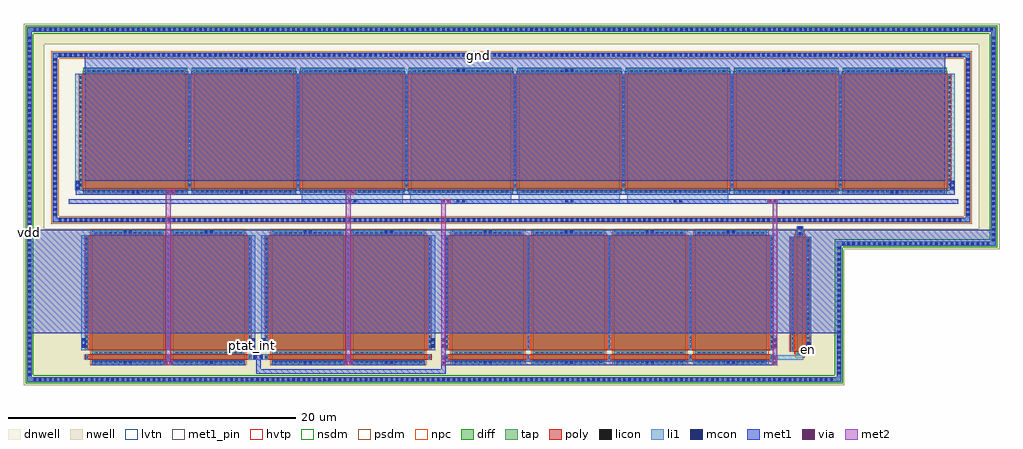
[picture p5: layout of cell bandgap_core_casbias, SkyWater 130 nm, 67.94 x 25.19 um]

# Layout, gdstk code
from math import pi, radians
import gdstk
lib = gdstk.Library(unit=1e-6, precision=5e-09)
def R(c, l, rs):  # rectangles x0, y0, x1, y1
    for r in rs: c.add(gdstk.rectangle(r[:2], r[2:], *l))
def A(c, l, x, y, w, h, nx, ny, dx, dy):  # array of equal rectangles
    R(c, l, [(x+i*dx, y+j*dy, x+i*dx+w, y+j*dy+h) for i in range(nx) for j in range(ny)])
def P(c, l, *ps):  # polygons
    for p in ps: c.add(gdstk.Polygon(p, *l))
dnwell = (64, 18)
nwell = (64, 20)
diff = (65, 20)
tap = (65, 44)
poly = (66, 20)
licon = (66, 44)
li1 = (67, 20)
mcon = (67, 44)
met1_pin = (68, 16)
met1 = (68, 20)
via = (68, 44)
met2 = (69, 20)
hvtp = (78, 44)
nsdm = (93, 44)
psdm = (94, 20)
npc = (95, 20)
lvtn = (125, 44)

mos = lib.new_cell('mos')
R(mos, diff, [(-4.29,-3.5,4.29,3.5), (-4.29,-3.5,-4,3.5), (4,-3.5,4.29,3.5)])
R(mos, poly, [(-4,-3.94,4,-3.61), (-4,-3.775,4,3.775), (-4,3.61,4,3.94)])
A(mos, licon, -3.825, -3.86, 0.17, 0.17, 23, 2, 0.34, 7.55)
A(mos, licon, -4.23, -3.315, 0.17, 0.17, 1, 20, 0, 0.34)
A(mos, licon, 4.06, -3.315, 0.17, 0.17, 1, 20, 0, 0.34)
R(mos, li1, [(-4,-3.86,4,-3.69), (-4.23,-3.52,-4.06,3.52), (4.06,-3.52,4.23,3.52), (-4,3.69,4,3.86)])
R(mos, nsdm, [(-4.415,-3.625,4.415,3.625)])
R(mos, npc, [(-3.925,-3.96,3.925,-3.59), (-3.925,3.59,3.925,3.96)])
R(mos, lvtn, [(-4.18,-3.68,4.18,3.68)])

contact = lib.new_cell('contact')
R(contact, li1, [(-0.165,-0.345,0.165,0.345)])
R(contact, mcon, [(-0.085,-0.265,0.085,-0.095), (-0.085,0.095,0.085,0.265)])
R(contact, met1, [(-0.145,-0.325,0.145,0.325)])

bandgap_cascurr_cell = lib.new_cell('bandgap_cascurr_cell')
R(bandgap_cascurr_cell, nwell, [(0,0.005,1.29,6.005), (0.64,0.005,9.58,6.005)])
R(bandgap_cascurr_cell, diff, [(0.18,0.505,1.11,5.505), (0.82,0.505,9.4,5.505)])
R(bandgap_cascurr_cell, poly, [(0.47,0.02,0.82,5.99), (1.11,0.02,9.11,5.99)])
A(bandgap_cascurr_cell, licon, 1.285, 0.1, 0.17, 0.17, 23, 2, 0.34, 5.64)
A(bandgap_cascurr_cell, licon, 0.24, 0.71, 0.17, 0.17, 1, 14, 0, 0.34)
A(bandgap_cascurr_cell, licon, 9.17, 0.71, 0.17, 0.17, 1, 14, 0, 0.34)
R(bandgap_cascurr_cell, licon, [(0.56,0.1,0.73,0.27), (0.88,0.71,1.05,0.88), (0.88,0.71,1.05,0.88), (0.88,1.05,1.05,1.22), (0.88,1.05,1.05,1.22), (0.88,1.39,1.05,1.56), (0.88,1.39,1.05,1.56), (0.88,1.73,1.05,1.9), (0.88,1.73,1.05,1.9), (0.88,2.07,1.05,2.24), (0.88,2.07,1.05,2.24), (0.88,2.41,1.05,2.58), (0.88,2.41,1.05,2.58), (0.88,2.75,1.05,2.92), (0.88,2.75,1.05,2.92), (0.88,3.09,1.05,3.26), (0.88,3.09,1.05,3.26), (0.88,3.43,1.05,3.6), (0.88,3.43,1.05,3.6), (0.88,3.77,1.05,3.94), (0.88,3.77,1.05,3.94), (0.88,4.11,1.05,4.28), (0.88,4.11,1.05,4.28), (0.88,4.45,1.05,4.62), (0.88,4.45,1.05,4.62), (0.88,4.79,1.05,4.96), (0.88,4.79,1.05,4.96), (0.88,5.13,1.05,5.3), (0.88,5.13,1.05,5.3), (0.56,5.74,0.73,5.91)])
R(bandgap_cascurr_cell, li1, [(0.47,0.1,0.82,0.27), (1.11,0.1,9.11,0.27), (0.24,0.485,0.41,5.525), (0.88,0.485,1.05,5.525), (0.88,0.485,1.05,5.525), (9.17,0.485,9.34,5.525), (0.47,5.74,0.82,5.91), (1.11,5.74,9.11,5.91)])
R(bandgap_cascurr_cell, psdm, [(0.055,0.38,1.235,5.63), (0.695,0.38,9.525,5.63)])
R(bandgap_cascurr_cell, npc, [(0.46,0,0.83,0.37), (1.185,0,9.035,0.37), (0.46,5.64,0.83,6.01), (1.185,5.64,9.035,6.01)])

sky130_fd_pr__pfet_01v8_ = lib.new_cell('sky130_fd_pr__pfet_01v8_hvt_whu7v0')
R(sky130_fd_pr__pfet_01v8_, nwell, [(-4.47,-0.71,4.47,0.71)])
R(sky130_fd_pr__pfet_01v8_, diff, [(-4.29,-0.21,4.29,0.21)])
R(sky130_fd_pr__pfet_01v8_, poly, [(-4,-0.695,4,0.695)])
A(sky130_fd_pr__pfet_01v8_, licon, -3.825, -0.615, 0.17, 0.17, 23, 2, 0.34, 1.06)
R(sky130_fd_pr__pfet_01v8_, licon, [(-4.23,-0.085,-4.06,0.085), (4.06,-0.085,4.23,0.085)])
R(sky130_fd_pr__pfet_01v8_, li1, [(-4,-0.615,4,-0.445), (-4.23,-0.23,-4.06,0.23), (4.06,-0.23,4.23,0.23), (-4,0.445,4,0.615)])
R(sky130_fd_pr__pfet_01v8_, hvtp, [(-4.18,-0.39,4.18,0.39)])
R(sky130_fd_pr__pfet_01v8_, psdm, [(-4.415,-0.335,4.415,0.335)])
R(sky130_fd_pr__pfet_01v8_, npc, [(-3.925,-0.715,3.925,-0.345), (-3.925,0.345,3.925,0.715)])

contact_15 = lib.new_cell('contact$15')
R(contact_15, met1, [(-0.16,-0.32,0.16,0.32)])
R(contact_15, via, [(-0.075,-0.235,0.075,-0.085), (-0.075,0.085,0.075,0.235)])
R(contact_15, met2, [(-0.16,-0.32,0.16,0.32)])

bandgap_core_casbias = lib.new_cell('bandgap_core_casbias')
P(bandgap_core_casbias, dnwell, [(-2.735,-0.015),(-2.735,24.375),(64.405,24.375),(64.405,9.73),(53.645,9.73),(53.645,-0.015)])
R(bandgap_core_casbias, nwell, [(-2.295,0.425,53.16,10.5), (53.16,9.89,63.965,10.5), (-2.295,10.5,-1.69,23.935), (63.36,10.5,63.965,23.935), (-1.69,23.33,63.36,23.935)])
A(bandgap_core_casbias, licon, -2.425, -0.08, 0.17, 0.17, 155, 1, 0.36, 0)
A(bandgap_core_casbias, licon, -2.8, 0.275, 0.17, 0.17, 1, 66, 0, 0.36)
A(bandgap_core_casbias, licon, 53.54, 0.355, 0.17, 0.17, 1, 24, 0, 0.36)
A(bandgap_core_casbias, licon, 53.85, 9.385, 0.17, 0.17, 29, 1, 0.36, 0)
A(bandgap_core_casbias, licon, 64.3, 9.635, 0.17, 0.17, 1, 40, 0, 0.36)
A(bandgap_core_casbias, licon, -0.67, 11.015, 0.17, 0.17, 175, 1, 0.36, 0)
A(bandgap_core_casbias, licon, -1.03, 11.39, 0.17, 0.17, 1, 31, 0, 0.36)
A(bandgap_core_casbias, licon, 62.53, 11.39, 0.17, 0.17, 1, 31, 0, 0.36)
A(bandgap_core_casbias, licon, -0.67, 22.5, 0.17, 0.17, 93, 1, 0.36, 0)
A(bandgap_core_casbias, licon, 32.81, 22.5, 0.17, 0.17, 82, 1, 0.36, 0)
A(bandgap_core_casbias, licon, -2.425, 24.27, 0.17, 0.17, 186, 1, 0.36, 0)
R(bandgap_core_casbias, licon, [(53.54,9.075,53.71,9.245), (32.45,22.5,32.62,22.67), (32.81,22.5,32.98,22.67)])
A(bandgap_core_casbias, li1, 26.66, 1, 5.04, 0.33, 4, 2, 5.64, 9.09)
A(bandgap_core_casbias, li1, 16.235, 12.245, 7.04, 0.97, 4, 1, 7.55, 0)
A(bandgap_core_casbias, li1, 1.135, 21.335, 7.04, 0.33, 8, 1, 7.55, 0)
R(bandgap_core_casbias, li1, [(1.6,1,6.64,1.33), (7.24,1,12.28,1.33), (14.13,1,19.17,1.33), (19.77,1,24.81,1.33), (12.495,1.39,13.915,1.74), (25.945,1.39,26.275,10.03), (49.005,1.39,49.335,10.03), (49.335,1.39,51.145,1.7), (51.36,1.93,51.69,9.93), (0.885,2.03,1.215,10.03), (12.665,2.03,12.995,10.03), (13.415,2.03,13.745,10.03), (25.195,2.03,25.525,10.03), (50.685,9.99,51.145,10.68), (1.6,10.09,6.64,10.42), (7.24,10.09,12.28,10.42), (14.13,10.09,19.17,10.42), (19.77,10.09,24.81,10.42), (1.135,12.885,8.175,13.215), (8.685,12.885,15.725,13.215), (46.435,12.885,53.475,13.215), (53.985,12.885,61.025,13.215), (0.465,13.275,0.795,21.275), (61.365,13.275,61.695,21.275)])
A(bandgap_core_casbias, mcon, -2.425, -0.08, 0.17, 0.17, 155, 1, 0.36, 0)
A(bandgap_core_casbias, mcon, -2.8, 0.275, 0.17, 0.17, 1, 66, 0, 0.36)
A(bandgap_core_casbias, mcon, 53.54, 0.355, 0.17, 0.17, 1, 24, 0, 0.36)
A(bandgap_core_casbias, mcon, 53.85, 9.385, 0.17, 0.17, 29, 1, 0.36, 0)
A(bandgap_core_casbias, mcon, 64.3, 9.635, 0.17, 0.17, 1, 40, 0, 0.36)
A(bandgap_core_casbias, mcon, -0.67, 11.015, 0.17, 0.17, 175, 2, 0.36, 11.485)
A(bandgap_core_casbias, mcon, -1.03, 11.39, 0.17, 0.17, 1, 31, 0, 0.36)
A(bandgap_core_casbias, mcon, 62.53, 11.39, 0.17, 0.17, 1, 31, 0, 0.36)
A(bandgap_core_casbias, mcon, -2.425, 24.27, 0.17, 0.17, 186, 1, 0.36, 0)
R(bandgap_core_casbias, mcon, [(53.54,9.075,53.71,9.245)])
R(bandgap_core_casbias, met1_pin, [(51.38,1.95,51.67,2.215), (12.685,2.225,12.975,2.52), (13.435,2.225,13.725,2.52), (-2.865,10.085,-2.565,10.325), (28.37,22.435,28.665,22.735)])
R(bandgap_core_casbias, met1, [(-2.565,3.23,1.605,10.42), (1.6,3.23,48.62,10.42), (48.62,3.23,53.475,10.42), (53.475,9.62,64.235,10.42), (1.135,13.84,61.025,21.665), (1.135,21.665,61.025,22.435)])
bandgap_core_casbias.add(gdstk.FlexPath([(-1.095,22.585),(62.615,22.585),(62.615,11.1),(-0.945,11.1),(-0.945,22.735)], 0.3, ends="flush", simple_path=True, layer=67, datatype=20))  # li1
bandgap_core_casbias.add(gdstk.FlexPath([(53.775,0.005),(-2.715,0.005),(-2.715,24.355),(64.385,24.355),(64.385,9.32)], 0.3, ends="flush", simple_path=True, layer=67, datatype=20))  # li1
bandgap_core_casbias.add(gdstk.FlexPath([(53.625,-0.145),(53.625,9.62)], 0.3, ends="flush", simple_path=True, layer=67, datatype=20))  # li1
bandgap_core_casbias.add(gdstk.FlexPath([(53.475,9.47),(64.535,9.47)], 0.3, ends="flush", simple_path=True, layer=67, datatype=20))  # li1
bandgap_core_casbias.add(gdstk.FlexPath([(0.485,13.035),(61.675,13.035)], 0.32, ends="flush", simple_path=True, layer=68, datatype=20))  # met1
bandgap_core_casbias.add(gdstk.FlexPath([(0,12.395),(61.945,12.395)], 0.32, ends="flush", simple_path=True, layer=68, datatype=20))  # met1
bandgap_core_casbias.add(gdstk.FlexPath([(-1.095,22.585),(62.615,22.585),(62.615,11.1),(-0.945,11.1),(-0.945,22.735)], 0.3, ends="flush", simple_path=True, layer=68, datatype=20))  # met1
bandgap_core_casbias.add(gdstk.FlexPath([(53.775,0.005),(-2.715,0.005),(-2.715,24.355),(64.385,24.355),(64.385,9.325)], 0.3, ends="flush", simple_path=True, layer=68, datatype=20))  # met1
bandgap_core_casbias.add(gdstk.FlexPath([(25.95,1.16),(49.33,1.16)], 0.32, ends="flush", simple_path=True, layer=68, datatype=20))  # met1
bandgap_core_casbias.add(gdstk.FlexPath([(48.62,10.26),(51.06,10.26)], 0.32, ends="flush", simple_path=True, layer=68, datatype=20))  # met1
bandgap_core_casbias.add(gdstk.FlexPath([(1.6,1.16),(12.28,1.16)], 0.32, ends="flush", simple_path=True, layer=68, datatype=20))  # met1
bandgap_core_casbias.add(gdstk.FlexPath([(14.13,1.16),(24.81,1.16)], 0.32, ends="flush", simple_path=True, layer=68, datatype=20))  # met1
bandgap_core_casbias.add(gdstk.FlexPath([(53.625,-0.145),(53.625,9.62)], 0.3, ends="flush", simple_path=True, layer=68, datatype=20))  # met1
bandgap_core_casbias.add(gdstk.FlexPath([(53.475,9.47),(64.535,9.47)], 0.3, ends="flush", simple_path=True, layer=68, datatype=20))  # met1
bandgap_core_casbias.add(gdstk.FlexPath([(13.22,1.42),(13.22,0.565),(26.11,0.565),(26.11,1)], 0.32, ends="flush", simple_path=True, layer=68, datatype=20))  # met1
bandgap_core_casbias.add(gdstk.FlexPath([(26.11,1),(26.11,12.555)], 0.32, ends="flush", simple_path=True, layer=69, datatype=20))  # met2
bandgap_core_casbias.add(gdstk.FlexPath([(49.17,1),(49.17,12.555)], 0.32, ends="flush", simple_path=True, layer=69, datatype=20))  # met2
bandgap_core_casbias.add(gdstk.FlexPath([(19.47,1),(19.47,13.195)], 0.32, ends="flush", simple_path=True, layer=69, datatype=20))  # met2
bandgap_core_casbias.add(gdstk.FlexPath([(6.94,1),(6.94,13.195)], 0.32, ends="flush", simple_path=True, layer=69, datatype=20))  # met2
bandgap_core_casbias.add(gdstk.FlexPath([(-1.22,22.585),(62.615,22.585),(62.615,11.1),(-0.945,11.1),(-0.945,22.86)], 0.55, ends="flush", simple_path=True, layer=94, datatype=20))  # psdm
bandgap_core_casbias.add(gdstk.FlexPath([(54,0.005),(-2.715,0.005),(-2.715,24.355),(64.385,24.355),(64.385,9.05)], 0.84, ends="flush", simple_path=True, layer=64, datatype=20))  # nwell
bandgap_core_casbias.add(gdstk.FlexPath([(53.58,-0.415),(53.58,9.47),(64.805,9.47)], 0.84, ends="flush", simple_path=True, layer=64, datatype=20))  # nwell
bandgap_core_casbias.add(gdstk.FlexPath([(53.9,0.005),(-2.715,0.005),(-2.715,24.355),(64.385,24.355),(64.385,9.195)], 0.55, ends="flush", simple_path=True, layer=93, datatype=44))  # nsdm
bandgap_core_casbias.add(gdstk.FlexPath([(53.625,-0.27),(53.625,9.47),(64.66,9.47)], 0.55, ends="flush", simple_path=True, layer=93, datatype=44))  # nsdm
bandgap_core_casbias.add(gdstk.FlexPath([(-1.095,22.585),(62.615,22.585),(62.615,11.1),(-0.945,11.1),(-0.945,22.735)], 0.3, ends="flush", simple_path=True, layer=65, datatype=44))  # tap
bandgap_core_casbias.add(gdstk.FlexPath([(53.775,0.005),(-2.715,0.005),(-2.715,24.355),(64.385,24.355),(64.385,9.32)], 0.3, ends="flush", simple_path=True, layer=65, datatype=44))  # tap
bandgap_core_casbias.add(gdstk.FlexPath([(64.535,9.47),(53.475,9.47)], 0.3, ends="flush", simple_path=True, layer=65, datatype=44))  # tap
bandgap_core_casbias.add(gdstk.FlexPath([(53.625,9.62),(53.625,-0.145)], 0.3, ends="flush", simple_path=True, layer=65, datatype=44))  # tap
r = gdstk.Reference(mos, (57.505,17.275), rotation=pi/2); r.repetition = gdstk.Repetition(1, 8, v1=(0,0), v2=(-7.55,0)); bandgap_core_casbias.add(r)
bandgap_core_casbias.add(gdstk.Reference(contact, (4.655,13.05), rotation=pi/2))
bandgap_core_casbias.add(gdstk.Reference(contact, (0.63,13.52), rotation=pi))
r = gdstk.Reference(bandgap_cascurr_cell, (12.765,0.92), rotation=pi/2); r.repetition = gdstk.Repetition(1, 2, v1=(0,0), v2=(-5.64,0)); bandgap_core_casbias.add(r)
r = gdstk.Reference(bandgap_cascurr_cell, (49.105,0.92), rotation=pi/2); r.repetition = gdstk.Repetition(1, 4, v1=(0,0), v2=(-5.64,0)); bandgap_core_casbias.add(r)
bandgap_core_casbias.add(gdstk.Reference(sky130_fd_pr__pfet_01v8_, (50.915,5.93), rotation=pi/2))
bandgap_core_casbias.add(gdstk.Reference(contact, (12.205,13.05), rotation=pi/2))
bandgap_core_casbias.add(gdstk.Reference(contact, (19.755,12.41), rotation=pi/2))
bandgap_core_casbias.add(gdstk.Reference(contact, (27.305,12.41), rotation=pi/2))
bandgap_core_casbias.add(gdstk.Reference(contact, (34.855,12.41), rotation=pi/2))
bandgap_core_casbias.add(gdstk.Reference(contact, (42.405,12.41), rotation=pi/2))
bandgap_core_casbias.add(gdstk.Reference(contact, (49.955,13.05), rotation=pi/2))
bandgap_core_casbias.add(gdstk.Reference(contact, (57.505,13.05), rotation=pi/2))
bandgap_core_casbias.add(gdstk.Reference(contact, (61.53,13.52), rotation=pi))
bandgap_core_casbias.add(gdstk.Reference(contact, (4.655,21.5), rotation=pi/2))
r = gdstk.Reference(bandgap_cascurr_cell, (25.295,0.92), rotation=pi/2); r.repetition = gdstk.Repetition(1, 2, v1=(0,0), v2=(-5.64,0)); bandgap_core_casbias.add(r)
bandgap_core_casbias.add(gdstk.Reference(contact, (4.12,1.165), rotation=pi/2))
bandgap_core_casbias.add(gdstk.Reference(contact, (9.76,1.165), rotation=pi/2))
bandgap_core_casbias.add(gdstk.Reference(contact, (1.05,2.55), rotation=pi))
bandgap_core_casbias.add(gdstk.Reference(contact, (12.83,2.55), rotation=pi))
bandgap_core_casbias.add(gdstk.Reference(contact, (13.58,2.55), rotation=pi))
bandgap_core_casbias.add(gdstk.Reference(contact, (26.11,2.55), rotation=pi))
bandgap_core_casbias.add(gdstk.Reference(contact, (49.17,2.55), rotation=pi))
bandgap_core_casbias.add(gdstk.Reference(contact, (12.205,21.5), rotation=pi/2))
bandgap_core_casbias.add(gdstk.Reference(contact, (4.12,10.255), rotation=pi/2))
bandgap_core_casbias.add(gdstk.Reference(contact, (9.76,10.255), rotation=pi/2))
bandgap_core_casbias.add(gdstk.Reference(contact, (16.65,10.255), rotation=pi/2))
bandgap_core_casbias.add(gdstk.Reference(contact, (22.29,10.255), rotation=pi/2))
bandgap_core_casbias.add(gdstk.Reference(contact, (29.18,10.255), rotation=pi/2))
bandgap_core_casbias.add(gdstk.Reference(contact, (34.82,10.255), rotation=pi/2))
bandgap_core_casbias.add(gdstk.Reference(contact, (40.46,10.255), rotation=pi/2))
bandgap_core_casbias.add(gdstk.Reference(contact, (46.1,10.255), rotation=pi/2))
bandgap_core_casbias.add(gdstk.Reference(contact, (50.915,10.335)))
bandgap_core_casbias.add(gdstk.Reference(contact, (51.525,2.275)))
bandgap_core_casbias.add(gdstk.Reference(contact, (29.18,1.165), rotation=3*pi/2))
bandgap_core_casbias.add(gdstk.Reference(contact, (34.82,1.165), rotation=3*pi/2))
bandgap_core_casbias.add(gdstk.Reference(contact, (40.46,1.165), rotation=3*pi/2))
bandgap_core_casbias.add(gdstk.Reference(contact, (46.1,1.165), rotation=3*pi/2))
bandgap_core_casbias.add(gdstk.Reference(contact_15, (26.11,2.55), rotation=pi))
bandgap_core_casbias.add(gdstk.Reference(contact_15, (26.27,12.395), rotation=3*pi/2))
bandgap_core_casbias.add(gdstk.Reference(contact_15, (26.11,1.32), rotation=pi))
bandgap_core_casbias.add(gdstk.Reference(contact_15, (49.17,1.32)))
bandgap_core_casbias.add(gdstk.Reference(contact_15, (49.17,2.53), rotation=pi))
bandgap_core_casbias.add(gdstk.Reference(contact_15, (49.01,12.395), rotation=3*pi/2))
bandgap_core_casbias.add(gdstk.Reference(contact, (16.65,1.165), rotation=3*pi/2))
bandgap_core_casbias.add(gdstk.Reference(contact, (22.29,1.165), rotation=3*pi/2))
bandgap_core_casbias.add(gdstk.Reference(contact_15, (19.47,1.16), rotation=3*pi/2))
bandgap_core_casbias.add(gdstk.Reference(contact_15, (6.94,1.16), rotation=3*pi/2))
bandgap_core_casbias.add(gdstk.Reference(contact_15, (19.63,13.035), rotation=3*pi/2))
bandgap_core_casbias.add(gdstk.Reference(contact_15, (7.1,13.035), rotation=3*pi/2))
bandgap_core_casbias.add(gdstk.Reference(contact, (13.2,1.565), rotation=3*pi/2))
bandgap_core_casbias.add(gdstk.Reference(contact, (25.36,2.55), rotation=pi))
bandgap_core_casbias.add(gdstk.Reference(contact, (19.755,21.5), rotation=pi/2))
bandgap_core_casbias.add(gdstk.Reference(contact, (27.305,21.5), rotation=pi/2))
bandgap_core_casbias.add(gdstk.Reference(contact, (34.855,21.5), rotation=pi/2))
bandgap_core_casbias.add(gdstk.Reference(contact, (42.405,21.5), rotation=pi/2))
bandgap_core_casbias.add(gdstk.Reference(contact, (49.955,21.5), rotation=pi/2))
bandgap_core_casbias.add(gdstk.Reference(contact, (57.505,21.5), rotation=pi/2))
bandgap_core_casbias.add(gdstk.Label('gnd', (28.52,22.585), layer=68, texttype=5))
bandgap_core_casbias.add(gdstk.Label('ptat_int', (12.805,2.37), layer=68, texttype=5))
bandgap_core_casbias.add(gdstk.Label('ctat_int', (13.56,2.38), layer=68, texttype=5))
bandgap_core_casbias.add(gdstk.Label('vdd', (-2.715,10.235), layer=68, texttype=5))
bandgap_core_casbias.add(gdstk.Label('en', (51.515,2.09), layer=68, texttype=5))

lib.write_gds('bandgap_core_casbias.gds')
